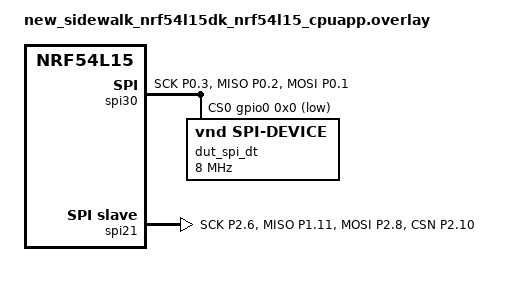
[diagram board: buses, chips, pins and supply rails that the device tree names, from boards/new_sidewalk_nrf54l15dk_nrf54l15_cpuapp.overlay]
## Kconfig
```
#
# Copyright (c) 2024 Nordic Semiconductor ASA
#
# SPDX-License-Identifier: LicenseRef-Nordic-5-Clause
#

config ROLE_HOST
	int "Change test behaviour depending on Host/Device role"
	default 1
	help
		Change test behaviour.
		0: Device - returns data received previously
		1: Host - generates data, sends it to the Device, confirms that received data is correct

config PAYLOAD_LEN
	int "lenth of payload"
	default 64

config DELAY_BETWEEN_PACKETS_MS
	int "lenth of payload"
	default 1
	range 0 60000

source "Kconfig.zephyr"
```

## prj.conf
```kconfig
#
# Copyright (c) 2024 Nordic Semiconductor ASA
#
# SPDX-License-Identifier: LicenseRef-Nordic-5-Clause
#
 
CONFIG_SPI=y
CONFIG_SPI_SLAVE=y
CONFIG_GPIO=y
CONFIG_SPI_ASYNC=y
CONFIG_LOG=y
CONFIG_SPI_LOG_LEVEL_INF=y
```

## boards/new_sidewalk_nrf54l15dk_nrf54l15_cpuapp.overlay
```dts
/*
 * Copyright (c) 2024 Nordic Semiconductor ASA
 *
 * SPDX-License-Identifier: LicenseRef-Nordic-5-Clause
 */

&pinctrl {
	spi21_default_alt: spi21_default_alt {
		group1 {
			psels = <NRF_PSEL(SPIM_SCK, 2, 6)>,
				<NRF_PSEL(SPIM_MISO, 1, 11)>,
				<NRF_PSEL(SPIM_MOSI, 2, 8)>,
				<NRF_PSEL(SPIS_CSN, 2, 10)>;
		};
	};

	spi21_sleep_alt: spi21_sleep_alt {
		group1 {
			psels = <NRF_PSEL(SPIM_SCK, 2, 6)>,
				<NRF_PSEL(SPIM_MISO, 1, 11)>,
				<NRF_PSEL(SPIM_MOSI, 2, 8)>,
				<NRF_PSEL(SPIS_CSN, 2, 10)>;
			low-power-enable;
		};
	};
	spi30_default_alt: spi30_default_alt {
		group1 {
			psels = <NRF_PSEL(SPIM_SCK, 0, 3)>,
				<NRF_PSEL(SPIM_MISO, 0, 2)>,
				<NRF_PSEL(SPIM_MOSI, 0, 1)>;
		};
	};

	spi30_sleep_alt: spi30_sleep_alt {
		group1 {
			psels = <NRF_PSEL(SPIM_SCK, 0, 3)>,
				<NRF_PSEL(SPIM_MISO, 0, 2)>,
				<NRF_PSEL(SPIM_MOSI, 0, 1)>;
			low-power-enable;
		};
	};


};

&gpio2 {
	status = "okay";
};
&gpio1 {
	status = "okay";
};
&gpio0 {
	status = "okay";
};

&spi30 {
	status = "okay";
	pinctrl-0 = <&spi30_default_alt>;
	pinctrl-1 = <&spi30_sleep_alt>;
	pinctrl-names = "default", "sleep";
	overrun-character = <0x00>;
	cs-gpios = <&gpio0 0x0 GPIO_ACTIVE_LOW>;
	dut_spi_dt: test-spi-dev@0 {
		compatible = "vnd,spi-device";
		reg = <0>;
		spi-max-frequency = <DT_FREQ_M(8)>;
	};
};


dut_spis: &spi21 {
	compatible = "nordic,nrf-spis";
	status = "okay";
	def-char = <0x00>;
	pinctrl-0 = <&spi21_default_alt>;
	pinctrl-1 = <&spi21_sleep_alt>;
	pinctrl-names = "default", "sleep";
	/delete-property/rx-delay-supported;
	/delete-property/rx-delay;
};




// /////////////////
```

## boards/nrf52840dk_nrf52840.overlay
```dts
/*
 * Copyright (c) 2024 Nordic Semiconductor ASA
 *
 * SPDX-License-Identifier: LicenseRef-Nordic-5-Clause
 */

&pinctrl {
	spi1_default_alt: spi1_default_alt {
		group1 {
			psels = <NRF_PSEL(SPIS_SCK, 1, 2)>,
				<NRF_PSEL(SPIS_MISO, 1, 4)>,
				<NRF_PSEL(SPIS_MOSI, 1, 8)>,
				<NRF_PSEL(SPIS_CSN, 1, 10)>;
		};
	};

	spi1_sleep_alt: spi1_sleep_alt {
		group1 {
			psels = <NRF_PSEL(SPIS_SCK, 1, 2)>,
				<NRF_PSEL(SPIS_MISO, 1, 4)>,
				<NRF_PSEL(SPIS_MOSI, 1, 8)>,
				<NRF_PSEL(SPIS_CSN, 1, 10)>;
			low-power-enable;
		};
	};

	spi2_default_alt: spi2_default_alt {
		group1 {
			psels = <NRF_PSEL(SPIM_SCK, 1, 15)>,
				<NRF_PSEL(SPIM_MISO, 1, 14)>,
				<NRF_PSEL(SPIM_MOSI, 1, 13)>;
		};
	};
	
	spi2_sleep_alt: spi2_sleep_alt{
		group1 {
			psels = <NRF_PSEL(SPIM_SCK, 1, 15)>,
				<NRF_PSEL(SPIM_MISO, 1, 14)>,
				<NRF_PSEL(SPIM_MOSI, 1, 13)>;
			low-power-enable;
		};
	};

};

&spi2 {
	status = "okay";
	pinctrl-0 = <&spi2_default_alt>;
	pinctrl-1 = <&spi2_sleep_alt>;
	pinctrl-names = "default", "sleep";
	overrun-character = <0x00>;
	cs-gpios = <&gpio1 0x8 GPIO_ACTIVE_LOW>;
	dut_spi_dt: test-spi-dev@0 {
		compatible = "vnd,spi-device";
		reg = <0>;
		spi-max-frequency = <DT_FREQ_M(8)>;
	};
};

dut_spis: &spi1 {
	compatible = "nordic,nrf-spis";
	status = "okay";
	def-char = <0x00>;
	pinctrl-0 = <&spi1_default_alt>;
	pinctrl-1 = <&spi1_sleep_alt>;
	pinctrl-names = "default", "sleep";
	/delete-property/rx-delay-supported;
	/delete-property/rx-delay;
};
```

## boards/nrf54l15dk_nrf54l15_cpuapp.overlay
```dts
/*
 * Copyright (c) 2024 Nordic Semiconductor ASA
 *
 * SPDX-License-Identifier: LicenseRef-Nordic-5-Clause
 */

&pinctrl {
	spi21_default_alt: spi21_default_alt {
		group1 {
			psels = <NRF_PSEL(SPIM_SCK, 2, 6)>,
				<NRF_PSEL(SPIM_MISO, 1, 11)>,
				<NRF_PSEL(SPIM_MOSI, 2, 8)>;
		};
	};

	spi21_sleep_alt: spi21_sleep_alt {
		group1 {
			psels = <NRF_PSEL(SPIM_SCK, 2, 6)>,
				<NRF_PSEL(SPIM_MISO, 1, 11)>,
				<NRF_PSEL(SPIM_MOSI, 2, 8)>;
			low-power-enable;
		};
	};
	spi30_default_alt: spi30_default_alt {
		group1 {
			psels = <NRF_PSEL(SPIM_SCK, 0, 3)>,
				<NRF_PSEL(SPIM_MISO, 0, 2)>,
				<NRF_PSEL(SPIM_MOSI, 0, 1)>,
				<NRF_PSEL(SPIS_CSN, 0, 0)>;
		};
	};

	spi30_sleep_alt: spi30_sleep_alt {
		group1 {
			psels = <NRF_PSEL(SPIM_SCK, 0, 3)>,
				<NRF_PSEL(SPIM_MISO, 0, 2)>,
				<NRF_PSEL(SPIM_MOSI, 0, 1)>,
				<NRF_PSEL(SPIS_CSN, 0, 0)>;
			low-power-enable;
		};
	};


};

&gpio2 {
	status = "okay";
};
&gpio1 {
	status = "okay";
};
&gpio0 {
	status = "okay";
};

&spi21 {
	status = "okay";
	pinctrl-0 = <&spi21_default_alt>;
	pinctrl-1 = <&spi21_sleep_alt>;
	pinctrl-names = "default", "sleep";
	overrun-character = <0x00>;
	cs-gpios = <&gpio2 0xa GPIO_ACTIVE_LOW>;
	dut_spi_dt: test-spi-dev@0 {
		compatible = "vnd,spi-device";
		reg = <0>;
		spi-max-frequency = <DT_FREQ_M(8)>;
	};
};


dut_spis: &spi30 {
	compatible = "nordic,nrf-spis";
	status = "okay";
	def-char = <0x00>;
	pinctrl-0 = <&spi30_default_alt>;
	pinctrl-1 = <&spi30_sleep_alt>;
	pinctrl-names = "default", "sleep";
	/delete-property/rx-delay-supported;
	/delete-property/rx-delay;
};




// /////////////////
```

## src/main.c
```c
/*
 * Copyright (c) 2024 Nordic Semiconductor ASA
 *
 * SPDX-License-Identifier: LicenseRef-Nordic-5-Clause
 */

#include <zephyr/kernel.h>
#include <zephyr/drivers/spi.h>

#define SPI_MODE (SPI_WORD_SET(8) | SPI_LINES_SINGLE | SPI_TRANSFER_MSB | SPI_FULL_DUPLEX)

#define SPIM_OP (SPI_OP_MODE_MASTER | SPI_MODE)
#define SPIS_OP (SPI_OP_MODE_SLAVE | SPI_MODE)

#if CONFIG_ROLE_HOST == 1
static struct spi_dt_spec spim = SPI_DT_SPEC_GET(DT_NODELABEL(dut_spi_dt), SPIM_OP, 0);
#else
static const struct device *spis_dev = DEVICE_DT_GET(DT_NODELABEL(dut_spis));
static const struct spi_config spis_config = { .operation = SPIS_OP };
#endif

void host_start(struct spi_dt_spec *spi_dt);
void device_start(const struct device *dev, const struct spi_config *cfg);

int main(void)
{
#if CONFIG_ROLE_HOST == 1
	host_start(&spim);
#else
	device_start(spis_dev, &spis_config);
#endif
}
```

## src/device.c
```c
/*
 * Copyright (c) 2024 Nordic Semiconductor ASA
 *
 * SPDX-License-Identifier: LicenseRef-Nordic-5-Clause
 */

#include <stdint.h>
#include <zephyr/logging/log.h>
LOG_MODULE_REGISTER(device, LOG_LEVEL_INF);

#include <zephyr/kernel.h>
#include <zephyr/drivers/spi.h>
extern uint8_t random_table[];

void device_start(const struct device *dev, const struct spi_config *cfg)
{
	static uint8_t tx[CONFIG_PAYLOAD_LEN] = { 0 };
	static uint8_t rx[CONFIG_PAYLOAD_LEN] = { 0 };
	static uint8_t rx_expect[CONFIG_PAYLOAD_LEN] = { 0 };
	memcpy(rx_expect, random_table, CONFIG_PAYLOAD_LEN);

	struct spi_buf tx_buff[] = {
		{
			.buf = tx,
			.len = CONFIG_PAYLOAD_LEN,
		},
	};

	struct spi_buf_set tx_set = { .buffers = tx_buff, .count = 1 };

	struct spi_buf rx_buff[] = {
		{
			.buf = rx,
			.len = CONFIG_PAYLOAD_LEN,
		},
	};
	struct spi_buf_set rx_set = { .buffers = rx_buff, .count = 1 };
	size_t packet_number = 0;

	while (true) {
		int ret = spi_transceive(dev, cfg, &tx_set, &rx_set);
		if (ret <= 0) {
			LOG_ERR("spi_transceive_dt returned %d", ret);
		}
		LOG_INF("received packet number %d", packet_number++);

		int cmp = memcmp(rx, rx_expect, CONFIG_PAYLOAD_LEN);
		if (cmp != 0) {
			LOG_ERR("Received unexpected payload");
			LOG_HEXDUMP_ERR(rx, CONFIG_PAYLOAD_LEN, "received");
			LOG_HEXDUMP_ERR(rx_expect, CONFIG_PAYLOAD_LEN, "expected");
			LOG_ERR("Fail");
		} else {
			// LOG_INF("OK");
		}

		// prepare tx for next response
		memcpy(tx, rx, CONFIG_PAYLOAD_LEN);
		// LOG_HEXDUMP_INF(rx, CONFIG_PAYLOAD_LEN, "received");
		// calculate what will be next rx payload
		for (size_t i = 0; i < CONFIG_PAYLOAD_LEN; i++) {
			uint8_t expected_val = rx[i] + 1;
			rx_expect[i] = expected_val;
		}
	}
}
```

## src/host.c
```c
/*
 * Copyright (c) 2024 Nordic Semiconductor ASA
 *
 * SPDX-License-Identifier: LicenseRef-Nordic-5-Clause
 */

#include <stdint.h>
#include <zephyr/logging/log.h>
LOG_MODULE_REGISTER(host, LOG_LEVEL_INF);

#include <zephyr/kernel.h>
#include <zephyr/drivers/spi.h>

extern uint8_t random_table[];

void host_start(struct spi_dt_spec *spi_dt)
{
	static uint8_t tx[CONFIG_PAYLOAD_LEN] = { 0 };
	static uint8_t rx[CONFIG_PAYLOAD_LEN] = { 0 };
	static uint8_t rx_expect[CONFIG_PAYLOAD_LEN] = { 0 };

	if (CONFIG_PAYLOAD_LEN > 1024) {
		LOG_ERR("Can not send %d bytes of data, max limit is 1024", CONFIG_PAYLOAD_LEN);
		return;
	}
	memcpy(tx, random_table, CONFIG_PAYLOAD_LEN);

	struct spi_buf tx_buff[] = {
		{
			.buf = tx,
			.len = CONFIG_PAYLOAD_LEN,
		},
	};

	struct spi_buf_set tx_set = { .buffers = tx_buff, .count = 1 };

	struct spi_buf rx_buff[] = {
		{
			.buf = rx,
			.len = CONFIG_PAYLOAD_LEN,
		},
	};
	struct spi_buf_set rx_set = { .buffers = rx_buff, .count = 1 };

	size_t packet_number = 0;
	while (true) {
		bool error = false;
		// LOG_INF("Sending packet %d", packet_number);
		// LOG_HEXDUMP_INF(tx,CONFIG_PAYLOAD_LEN, "sending" );

		memcpy(rx_expect, tx, CONFIG_PAYLOAD_LEN);
		for (size_t i = 0; i < CONFIG_PAYLOAD_LEN; i++) {
			tx[i]++;
		}
		memset(rx, 0, CONFIG_PAYLOAD_LEN);

		int ret = spi_transceive_dt(spi_dt, &tx_set, &rx_set);
		if (ret != 0) {
			LOG_ERR("spi_transceive_dt returned error %d", ret);
			error = true;
		}
		int cmp = memcmp(rx, rx_expect, CONFIG_PAYLOAD_LEN);
		if (cmp != 0) {
			error = true;
			LOG_ERR("on transfer number %d Readed data does not match expected",
				packet_number);
			LOG_HEXDUMP_ERR(rx, CONFIG_PAYLOAD_LEN, "readed");
			LOG_HEXDUMP_ERR(rx_expect, CONFIG_PAYLOAD_LEN, "expected");
		}
		if (error) {
			LOG_ERR("Fail");
		} else {
			// LOG_INF("OK");
		}
		packet_number++;
		if (CONFIG_DELAY_BETWEEN_PACKETS_MS > 0) {
			k_sleep(K_MSEC(CONFIG_DELAY_BETWEEN_PACKETS_MS));
		}
	}
}
```

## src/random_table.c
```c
/*
 * Copyright (c) 2024 Nordic Semiconductor ASA
 *
 * SPDX-License-Identifier: LicenseRef-Nordic-5-Clause
 */
#include <stdint.h>
uint8_t random_table[] = {
	0x52, 0xed, 0x2a, 0xb3, 0x7c, 0xb8, 0xdb, 0xf7, 0x47, 0x1f, 0x70, 0x83, 0x7e, 0x64, 0x63,
	0xef, 0x1c, 0x0d, 0x3a, 0xb7, 0x7a, 0xf0, 0xae, 0xad, 0xad, 0x5a, 0x00, 0x5b, 0xfb, 0xe0,
	0x88, 0xec, 0x8c, 0x31, 0xdd, 0x96, 0x4b, 0xf4, 0x33, 0xfc, 0x76, 0x7d, 0x7a, 0x08, 0x56,
	0xb5, 0x64, 0xdd, 0x94, 0x65, 0xea, 0x98, 0xc2, 0xde, 0xf3, 0x4a, 0x5f, 0xa9, 0x98, 0xb9,
	0xe6, 0xbf, 0xab, 0xce, 0xd0, 0xdf, 0xff, 0x5b, 0x29, 0xa9, 0xfa, 0x24, 0xeb, 0xfc, 0xe0,
	0xb0, 0xd8, 0x1e, 0xc0, 0x11, 0x29, 0x48, 0x4e, 0xb8, 0x0d, 0xf3, 0xc7, 0x62, 0x3e, 0x1e,
	0xdb, 0x8c, 0x6c, 0x4a, 0x8a, 0xc3, 0x1b, 0x63, 0x52, 0xc3, 0xfb, 0x71, 0x7f, 0xb6, 0x4a,
	0xe8, 0x55, 0x36, 0xf2, 0x77, 0xf7, 0xe4, 0xa0, 0xf6, 0x2c, 0xa6, 0x57, 0x5e, 0x73, 0x10,
	0x7f, 0x38, 0x4b, 0x2e, 0x73, 0xa7, 0xa6, 0xaa, 0x13, 0xf1, 0x6a, 0xe2, 0x7a, 0x18, 0xd3,
	0xd0, 0x38, 0xb9, 0x55, 0x7b, 0xcd, 0x57, 0x85, 0x91, 0xcf, 0x68, 0xce, 0xb7, 0x52, 0xd4,
	0xa2, 0x82, 0xf5, 0x78, 0x5f, 0xc7, 0x37, 0x75, 0x4c, 0xfa, 0x10, 0x93, 0x6e, 0x89, 0x60,
	0x18, 0x62, 0x4a, 0xc2, 0x9c, 0x11, 0x9a, 0x20, 0x4e, 0x19, 0xbc, 0xe7, 0x12, 0xb7, 0x03,
	0x2a, 0xaf, 0x37, 0x3e, 0xf3, 0x6d, 0x6a, 0x47, 0xfb, 0x3a, 0xca, 0xe2, 0x91, 0x76, 0x85,
	0xe5, 0x79, 0x08, 0xe4, 0xe2, 0x95, 0xb5, 0x32, 0xc0, 0x15, 0xeb, 0xe1, 0xac, 0x3c, 0x8a,
	0x76, 0x08, 0x0c, 0x27, 0x2e, 0x11, 0x36, 0x83, 0x75, 0x27, 0x87, 0x81, 0x64, 0x5e, 0x3a,
	0x30, 0x97, 0x1d, 0xfb, 0x71, 0x6f, 0xae, 0xf6, 0x00, 0xab, 0xf1, 0xb5, 0x9f, 0x4c, 0xd9,
	0x3c, 0x09, 0xb0, 0x32, 0x45, 0x29, 0x73, 0x3a, 0x46, 0x9e, 0xd2, 0x82, 0x0d, 0xf3, 0xe3,
	0x78, 0x3a, 0x25, 0x5a, 0x04, 0x1c, 0xeb, 0x79, 0xd4, 0x78, 0x20, 0xff, 0x61, 0xda, 0x15,
	0x7e, 0x72, 0x30, 0xc2, 0xe4, 0x89, 0xd4, 0x22, 0x3f, 0x64, 0x97, 0xb1, 0x5a, 0xd1, 0x0c,
	0xa4, 0x1c, 0xd7, 0xdf, 0xa8, 0xae, 0x84, 0x9a, 0x49, 0x20, 0xa2, 0xe0, 0x27, 0xcc, 0xfe,
	0xe4, 0x0b, 0x48, 0x68, 0xb0, 0xdc, 0x04, 0x03, 0xd6, 0x97, 0x49, 0x63, 0x4f, 0xe7, 0xc6,
	0xd8, 0xa7, 0x85, 0xc4, 0x73, 0x0a, 0x54, 0xc5, 0xee, 0xfd, 0xb3, 0x48, 0xeb, 0x50, 0xd9,
	0xf0, 0x50, 0xb2, 0xa3, 0x9a, 0xe9, 0x89, 0x76, 0x79, 0xe4, 0x19, 0xbc, 0x98, 0xce, 0xaa,
	0x2f, 0x79, 0x48, 0x2f, 0x75, 0xb5, 0x72, 0x7d, 0xda, 0x68, 0x79, 0x7f, 0x1b, 0xff, 0x20,
	0xd6, 0x98, 0xf4, 0x5c, 0x4e, 0x80, 0x23, 0x1b, 0x2b, 0xc9, 0xe0, 0x34, 0xef, 0xb1, 0x7e,
	0x75, 0x42, 0x64, 0x38, 0x12, 0xe3, 0x7f, 0x3e, 0xbc, 0x3b, 0x43, 0x61, 0xbf, 0x7f, 0x98,
	0x0e, 0x6b, 0x4a, 0xfa, 0x49, 0x4f, 0x5e, 0x1d, 0x27, 0xae, 0xbe, 0x9d, 0xf1, 0x1d, 0xfb,
	0x79, 0x95, 0xed, 0x8c, 0x5d, 0x74, 0x8c, 0x52, 0x40, 0xa2, 0x37, 0x8e, 0x08, 0x97, 0x06,
	0x90, 0xb0, 0x66, 0x09, 0x7d, 0x31, 0x8e, 0x42, 0xef, 0xd9, 0x70, 0x97, 0x2d, 0xcc, 0x86,
	0x54, 0x78, 0x76, 0xf9, 0x72, 0x1b, 0x7f, 0xae, 0xcc, 0xa4, 0xaa, 0xf9, 0x14, 0x6b, 0x9e,
	0xc3, 0x7f, 0x28, 0xbf, 0x1c, 0xbd, 0xee, 0xd0, 0x5c, 0xe7, 0x89, 0xbf, 0x8a, 0x1d, 0xdd,
	0x77, 0x89, 0x50, 0x03, 0x21, 0x87, 0x8a, 0x73, 0x2f, 0x0e, 0x76, 0xc9, 0x01, 0x8d, 0x94,
	0xb3, 0x39, 0x18, 0x1e, 0x9e, 0xc5, 0x4a, 0xdd, 0xd2, 0x14, 0xb9, 0x12, 0xe3, 0x87, 0xa1,
	0x52, 0x70, 0x9d, 0x49, 0xda, 0xd2, 0xb3, 0x14, 0x90, 0x63, 0x40, 0x66, 0x7a, 0x1b, 0xff,
	0x9c, 0xa4, 0x94, 0xd9, 0x43, 0x82, 0x63, 0xa6, 0xaa, 0x62, 0x35, 0x4b, 0xd6, 0xf0, 0xff,
	0x2f, 0x35, 0xa8, 0x2a, 0xf0, 0x2b, 0xd2, 0x4f, 0x2e, 0x4b, 0xed, 0x0c, 0xb8, 0x16, 0x91,
	0x91, 0x76, 0xed, 0xf1, 0xa9, 0x96, 0x7c, 0x4c, 0xf3, 0x33, 0x0c, 0xe3, 0xc7, 0x86, 0xea,
	0x75, 0x4f, 0x38, 0xeb, 0xfb, 0xe6, 0x33, 0x32, 0x34, 0xc5, 0x57, 0x1f, 0x04, 0xed, 0x10,
	0xc3, 0x4e, 0x34, 0xff, 0xed, 0x3b, 0x4c, 0x7a, 0x62, 0x62, 0x4e, 0x89, 0x42, 0x5d, 0xcc,
	0x2f, 0xfa, 0x89, 0x04, 0x8c, 0x8d, 0xfa, 0xb2, 0x51, 0x5f, 0x9a, 0xc5, 0x81, 0xd7, 0x59,
	0xf2, 0x51, 0x89, 0x39, 0x11, 0x07, 0xa3, 0x57, 0xfc, 0xa0, 0x3c, 0xa3, 0xa1, 0x1a, 0x1f,
	0x34, 0x46, 0x47, 0x95, 0xaa, 0xf4, 0xc8, 0xf5, 0xc0, 0xee, 0xb9, 0x49, 0x65, 0x19, 0x5a,
	0xe4, 0x09, 0x6b, 0x86, 0x19, 0x2c, 0x85, 0x27, 0x00, 0xae, 0x3f, 0x2f, 0x08, 0x42, 0x0c,
	0x04, 0x06, 0x66, 0x9d, 0x87, 0xce, 0xab, 0xaa, 0x44, 0xd3, 0x87, 0xd5, 0x82, 0x75, 0xa1,
	0xbe, 0xe2, 0xbd, 0x6a, 0x14, 0x98, 0x08, 0x62, 0x66, 0x4d, 0xd4, 0x4a, 0x9c, 0x01, 0x6d,
	0x14, 0x56, 0x91, 0x87, 0x36, 0x3a, 0xa4, 0xf2, 0xc2, 0xdc, 0x23, 0x88, 0xfe, 0x4d, 0xa7,
	0xe5, 0xb4, 0x35, 0xc1, 0x2b, 0xcb, 0xbd, 0x02, 0x77, 0x6e, 0xe1, 0x84, 0x15, 0xd8, 0xe7,
	0x8b, 0x19, 0x4a, 0xe4, 0x81, 0xb9, 0x96, 0x0c, 0x7a, 0x83, 0x07, 0xb8, 0xa6, 0xc2, 0x56,
	0x5e, 0x05, 0x74, 0xe7, 0x5d, 0x2f, 0xc9, 0xcc, 0x90, 0x30, 0x84, 0x2c, 0xf9, 0x8d, 0x9a,
	0x09, 0xd3, 0x83, 0xa1, 0x57, 0xe4, 0x3c, 0x9a, 0x15, 0xac, 0x33, 0xd9, 0xce, 0xda, 0x5c,
	0x78, 0x4e, 0xe7, 0x7b, 0x1e, 0xe5, 0x85, 0x33, 0xf9, 0xa2, 0xad, 0xd1, 0xb4, 0xee, 0xb9,
	0x18, 0x38, 0xde, 0xc3, 0xdb, 0x52, 0x2f, 0xaf, 0xc8, 0xc3, 0xcf, 0xec, 0xc6, 0xea, 0xad,
	0xe9, 0x96, 0x6a, 0xb5, 0x79, 0x28, 0x30, 0x4a, 0x54, 0xf6, 0x2f, 0xbb, 0x02, 0x65, 0x5b,
	0xb0, 0x66, 0x15, 0xea, 0x55, 0x70, 0x34, 0x82, 0x48, 0xf4, 0x17, 0xd7, 0x7a, 0x8d, 0x4a,
	0x88, 0x41, 0x9a, 0x71, 0xc9, 0x81, 0x72, 0x8b, 0x49, 0xe9, 0xe6, 0xc1, 0x6b, 0x84, 0xcb,
	0x3d, 0xe9, 0x33, 0xf3, 0xe8, 0x0b, 0x5f, 0x44, 0x5e, 0x39, 0x38, 0x6e, 0xd5, 0x6b, 0xca,
	0xcb, 0x1f, 0x53, 0xf4, 0xc1, 0xeb, 0x74, 0x45, 0xae, 0x80, 0x9f, 0xab, 0x98, 0x55, 0x48,
	0xeb, 0x7f, 0x33, 0x89, 0x9f, 0xc8, 0x4b, 0xa0, 0x84, 0x96, 0x46, 0xd3, 0x86, 0x9a, 0xaa,
	0x99, 0x9c, 0xf8, 0xcd, 0x71, 0x72, 0x20, 0x61, 0x1a, 0x67, 0x3a, 0x84, 0xf7, 0xfc, 0x92,
	0x85, 0x48, 0x42, 0xbb, 0xd5, 0xfa, 0x3e, 0x10, 0x07, 0xa5, 0xd9, 0x39, 0xb3, 0x5b, 0x71,
	0xbe, 0xb8, 0x61, 0x4f, 0x7c, 0xa6, 0x5a, 0xfe, 0xf9, 0x04, 0xcb, 0x1c, 0x1c, 0x9b, 0x69,
	0x2e, 0xb2, 0x52, 0xbe, 0xf1, 0x9a, 0x26, 0x57, 0xef, 0x3c, 0xee, 0x6a, 0xfd, 0x26, 0xe6,
	0x46, 0xfc, 0x2a, 0xd7, 0x79, 0x8f, 0x13, 0x48, 0x42, 0x1b, 0xd7, 0x29, 0xa9, 0x16, 0x88,
	0xa0, 0x5b, 0xc8, 0xc4, 0x54, 0xe7, 0xe2, 0xba, 0x07, 0xaf, 0xcb, 0xb3, 0xdb, 0x17, 0x03,
	0x1e, 0xf6, 0x40, 0xe6, 0x97, 0x25, 0x68, 0x45, 0xa7, 0xdc, 0x1a, 0x3d, 0x4b, 0xfc, 0x8e,
	0x62, 0xdb, 0x50, 0x22, 0xd2, 0xac, 0xe6, 0xbd, 0x9d, 0xb7, 0xca, 0xcb, 0x23, 0xdb, 0xff,
	0x5d, 0x8e, 0xd6, 0x49, 0x68, 0x0a, 0x0f, 0x40, 0xf5, 0x32, 0xd7, 0xaa, 0x8c, 0x21, 0xdd,
	0xc9, 0x7b, 0xaf, 0x66, 0xe2, 0xda, 0xbf, 0xeb, 0x7a, 0x42, 0xa8, 0xb7, 0x65, 0x1e, 0xeb,
	0xd3, 0x5f, 0xb2, 0xd6
};
```
